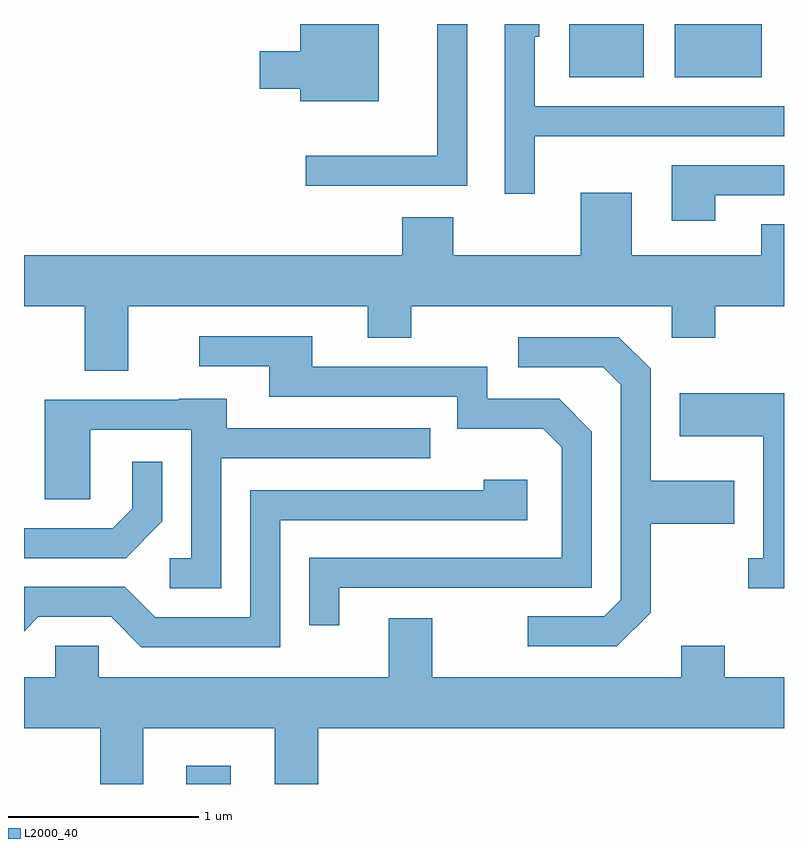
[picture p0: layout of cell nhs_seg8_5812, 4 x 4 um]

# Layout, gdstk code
import gdstk
lib = gdstk.Library(unit=1e-6, precision=1e-09)
def R(c, l, rs):  # rectangles x0, y0, x1, y1
    for r in rs: c.add(gdstk.rectangle(r[:2], r[2:], *l))
def P(c, l, *ps):  # polygons
    for p in ps: c.add(gdstk.Polygon(p, *l))
L2000_40 = (2000, 40)

nhs_seg8_5812 = lib.new_cell('nhs_seg8_5812')
R(nhs_seg8_5812, L2000_40, [(360.466,1838.342,360.699,1838.439), (362.481,1842.061,362.874,1842.342), (363.036,1842.061,363.494,1842.342)])
P(nhs_seg8_5812, L2000_40, [(361.944,1842.342),(361.786,1842.342),(361.786,1841.649),(361.093,1841.649),(361.093,1841.491),(361.944,1841.491)],
  [(362.299,1841.751),(363.611,1841.751),(363.611,1841.909),(362.299,1841.909),(362.299,1842.276),(362.324,1842.276),(362.324,1842.342),(362.141,1842.342),(362.141,1841.448),(362.299,1841.448)],
  [(361.479,1842.342),(361.066,1842.342),(361.066,1842.199),(360.851,1842.199),(360.851,1842.001),(361.066,1842.001),(361.066,1841.936),(361.479,1841.936)],
  [(363.249,1841.441),(363.611,1841.441),(363.611,1841.599),(363.021,1841.599),(363.021,1841.306),(363.249,1841.306)],
  [(362.809,1841.454),(362.541,1841.454),(362.541,1841.124),(361.869,1841.124),(361.869,1841.324),(361.601,1841.324),(361.601,1841.124),(359.611,1841.124),(359.611,1840.856),(359.931,1840.856),(359.931,1840.516),(360.159,1840.516),(360.159,1840.856),(361.421,1840.856),(361.421,1840.691),(361.649,1840.691),(361.649,1840.856),(363.021,1840.856),(363.021,1840.691),(363.249,1840.691),(363.249,1840.856),(363.611,1840.856),(363.611,1841.289),(363.491,1841.289),(363.491,1841.124),(362.809,1841.124)],
  [(361.269,1839.376),(362.599,1839.376),(362.599,1840.197),(362.427,1840.369),(362.049,1840.369),(362.049,1840.539),(361.129,1840.539),(361.129,1840.699),(360.533,1840.699),(360.533,1840.541),(360.901,1840.541),(360.901,1840.381),(361.891,1840.381),(361.891,1840.211),(362.344,1840.211),(362.441,1840.114),(362.441,1839.534),(361.111,1839.534),(361.111,1839.178),(361.269,1839.178)],
  [(362.909,1839.244),(362.909,1839.711),(363.349,1839.711),(363.349,1839.939),(362.909,1839.939),(362.909,1840.527),(362.742,1840.694),(362.213,1840.694),(362.213,1840.536),(362.659,1840.536),(362.751,1840.444),(362.751,1839.312),(362.664,1839.224),(362.263,1839.224),(362.263,1839.066),(362.732,1839.066)],
  [(363.611,1840.399),(363.061,1840.399),(363.061,1840.171),(363.501,1840.171),(363.501,1839.529),(363.423,1839.529),(363.423,1839.371),(363.611,1839.371)],
  [(360.649,1840.056),(361.748,1840.056),(361.748,1840.214),(360.679,1840.214),(360.679,1840.369),(360.425,1840.369),(360.425,1840.364),(359.721,1840.364),(359.721,1839.841),(359.959,1839.841),(359.959,1840.206),(360.491,1840.206),(360.491,1839.529),(360.378,1839.529),(360.378,1839.371),(360.649,1839.371)],
  [(360.339,1839.724),(360.339,1840.038),(360.181,1840.038),(360.181,1839.792),(360.079,1839.689),(359.611,1839.689),(359.611,1839.531),(360.147,1839.531)],
  [(360.959,1839.731),(362.259,1839.731),(362.259,1839.944),(362.031,1839.944),(362.031,1839.889),(360.801,1839.889),(360.801,1839.219),(360.302,1839.219),(360.142,1839.379),(359.611,1839.379),(359.611,1839.145),(359.687,1839.221),(360.069,1839.221),(360.229,1839.061),(360.959,1839.061)],
  [(363.611,1838.904),(363.299,1838.904),(363.299,1839.069),(363.071,1839.069),(363.071,1838.904),(361.759,1838.904),(361.759,1839.214),(361.531,1839.214),(361.531,1838.904),(360.004,1838.904),(360.004,1839.069),(359.776,1839.069),(359.776,1838.904),(359.611,1838.904),(359.611,1838.636),(360.011,1838.636),(360.011,1838.342),(360.239,1838.342),(360.239,1838.636),(360.931,1838.636),(360.931,1838.342),(361.159,1838.342),(361.159,1838.636),(363.611,1838.636)])

lib.write_gds('nhs_seg8_5812.gds')
